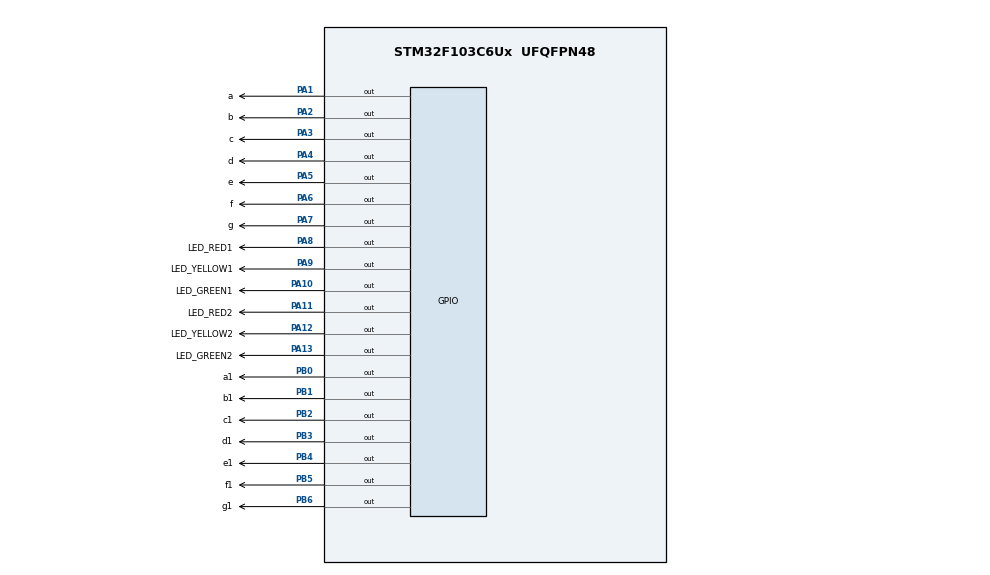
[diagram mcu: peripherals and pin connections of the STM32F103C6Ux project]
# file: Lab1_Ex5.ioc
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Mcu.Family=STM32F1
Mcu.Name=STM32F103C6Ux
Mcu.Package=UFQFPN48
NVIC.PriorityGroup=NVIC_PRIORITYGROUP_4
PA1.GPIO_Label=a
PA1.Signal=GPIO_Output
PA10.GPIO_Label=LED_GREEN1
PA10.Signal=GPIO_Output
PA11.GPIO_Label=LED_RED2
PA11.Signal=GPIO_Output
PA12.GPIO_Label=LED_YELLOW2
PA12.Signal=GPIO_Output
PA13.GPIO_Label=LED_GREEN2
PA13.Signal=GPIO_Output
PA2.GPIO_Label=b
PA2.Signal=GPIO_Output
PA3.GPIO_Label=c
PA3.Signal=GPIO_Output
PA4.GPIO_Label=d
PA4.Signal=GPIO_Output
PA5.GPIO_Label=e
PA5.Signal=GPIO_Output
PA6.GPIO_Label=f
PA6.Signal=GPIO_Output
PA7.GPIO_Label=g
PA7.Signal=GPIO_Output
PA8.GPIO_Label=LED_RED1
PA8.Signal=GPIO_Output
PA9.GPIO_Label=LED_YELLOW1
PA9.Signal=GPIO_Output
PB0.GPIO_Label=a1
PB0.Signal=GPIO_Output
PB1.GPIO_Label=b1
PB1.Signal=GPIO_Output
PB2.GPIO_Label=c1
PB2.Signal=GPIO_Output
PB3.GPIO_Label=d1
PB3.Signal=GPIO_Output
PB4.GPIO_Label=e1
PB4.Signal=GPIO_Output
PB5.GPIO_Label=f1
PB5.Signal=GPIO_Output
PB6.GPIO_Label=g1
PB6.Signal=GPIO_Output
ProjectManager.HeapSize=0x200
ProjectManager.StackSize=0x400
ProjectManager.TargetToolchain=STM32CubeIDE
RCC.APB1Freq_Value=8000000
RCC.APB2Freq_Value=8000000
VP_SYS_VS_ND.Mode=No_Debug
board=custom

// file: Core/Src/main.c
/* USER CODE BEGIN Header */
/**
  ******************************************************************************
  * @file           : main.c
  * @brief          : Main program body
  ******************************************************************************
  * @attention
  *
  * <h2><center>&copy; Copyright (c) 2025 STMicroelectronics.
  * All rights reserved.</center></h2>
  *
  * This software component is licensed by ST under BSD 3-Clause license,
  * the "License"; You may not use this file except in compliance with the
  * License. You may obtain a copy of the License at:
  *                        opensource.org/licenses/BSD-3-Clause
  *
  ******************************************************************************
  */
/* USER CODE END Header */
#include "main.h"

void SystemClock_Config(void);
static void MX_GPIO_Init(void);

/* USER CODE BEGIN 0 */
static void display7SEG(int num){
	HAL_GPIO_WritePin(a_GPIO_Port, a_Pin, GPIO_PIN_SET);
	HAL_GPIO_WritePin(b_GPIO_Port, b_Pin, GPIO_PIN_SET);
	HAL_GPIO_WritePin(c_GPIO_Port, c_Pin, GPIO_PIN_SET);
	HAL_GPIO_WritePin(d_GPIO_Port, d_Pin, GPIO_PIN_SET);
	HAL_GPIO_WritePin(e_GPIO_Port, e_Pin, GPIO_PIN_SET);
	HAL_GPIO_WritePin(f_GPIO_Port, f_Pin, GPIO_PIN_SET);
	HAL_GPIO_WritePin(g_GPIO_Port, g_Pin, GPIO_PIN_SET);
	switch (num){
		case 0:
		{
			HAL_GPIO_WritePin(a_GPIO_Port, a_Pin, GPIO_PIN_RESET);
			HAL_GPIO_WritePin(b_GPIO_Port, b_Pin, GPIO_PIN_RESET);
			HAL_GPIO_WritePin(c_GPIO_Port, c_Pin, GPIO_PIN_RESET);
			HAL_GPIO_WritePin(d_GPIO_Port, d_Pin, GPIO_PIN_RESET);
			HAL_GPIO_WritePin(e_GPIO_Port, e_Pin, GPIO_PIN_RESET);
			HAL_GPIO_WritePin(f_GPIO_Port, f_Pin, GPIO_PIN_RESET);
			HAL_GPIO_WritePin(g_GPIO_Port, g_Pin, GPIO_PIN_SET);
			break;
		}

		case 1:
		{
			HAL_GPIO_WritePin(a_GPIO_Port, a_Pin, GPIO_PIN_SET);
			HAL_GPIO_WritePin(b_GPIO_Port, b_Pin, GPIO_PIN_RESET);
			HAL_GPIO_WritePin(c_GPIO_Port, c_Pin, GPIO_PIN_RESET);
			HAL_GPIO_WritePin(d_GPIO_Port, d_Pin, GPIO_PIN_SET);
			HAL_GPIO_WritePin(e_GPIO_Port, e_Pin, GPIO_PIN_SET);
			HAL_GPIO_WritePin(f_GPIO_Port, f_Pin, GPIO_PIN_SET);
			HAL_GPIO_WritePin(g_GPIO_Port, g_Pin, GPIO_PIN_SET);
			break;
		}

		case 2:
		{
			HAL_GPIO_WritePin(a_GPIO_Port, a_Pin, GPIO_PIN_RESET);
			HAL_GPIO_WritePin(b_GPIO_Port, b_Pin, GPIO_PIN_RESET);
			HAL_GPIO_WritePin(c_GPIO_Port, c_Pin, GPIO_PIN_SET);
			HAL_GPIO_WritePin(d_GPIO_Port, d_Pin, GPIO_PIN_RESET);
			HAL_GPIO_WritePin(e_GPIO_Port, e_Pin, GPIO_PIN_RESET);
			HAL_GPIO_WritePin(f_GPIO_Port, f_Pin, GPIO_PIN_SET);
			HAL_GPIO_WritePin(g_GPIO_Port, g_Pin, GPIO_PIN_RESET);
			break;
		}

		case 3:
		{
			HAL_GPIO_WritePin(a_GPIO_Port, a_Pin, GPIO_PIN_RESET);
			HAL_GPIO_WritePin(b_GPIO_Port, b_Pin, GPIO_PIN_RESET);
			HAL_GPIO_WritePin(c_GPIO_Port, c_Pin, GPIO_PIN_RESET);
			HAL_GPIO_WritePin(d_GPIO_Port, d_Pin, GPIO_PIN_RESET);
			HAL_GPIO_WritePin(e_GPIO_Port, e_Pin, GPIO_PIN_SET);
			HAL_GPIO_WritePin(f_GPIO_Port, f_Pin, GPIO_PIN_SET);
			HAL_GPIO_WritePin(g_GPIO_Port, g_Pin, GPIO_PIN_RESET);
			break;
		}

		case 4:
		{
			HAL_GPIO_WritePin(a_GPIO_Port, a_Pin, GPIO_PIN_SET);
			HAL_GPIO_WritePin(b_GPIO_Port, b_Pin, GPIO_PIN_RESET);
			HAL_GPIO_WritePin(c_GPIO_Port, c_Pin, GPIO_PIN_RESET);
			HAL_GPIO_WritePin(d_GPIO_Port, d_Pin, GPIO_PIN_SET);
			HAL_GPIO_WritePin(e_GPIO_Port, e_Pin, GPIO_PIN_SET);
			HAL_GPIO_WritePin(f_GPIO_Port, f_Pin, GPIO_PIN_RESET);
			HAL_GPIO_WritePin(g_GPIO_Port, g_Pin, GPIO_PIN_RESET);
			break;
		}

		case 5:
		{
			HAL_GPIO_WritePin(a_GPIO_Port, a_Pin, GPIO_PIN_RESET);
			HAL_GPIO_WritePin(b_GPIO_Port, b_Pin, GPIO_PIN_SET);
			HAL_GPIO_WritePin(c_GPIO_Port, c_Pin, GPIO_PIN_RESET);
			HAL_GPIO_WritePin(d_GPIO_Port, d_Pin, GPIO_PIN_RESET);
			HAL_GPIO_WritePin(e_GPIO_Port, e_Pin, GPIO_PIN_SET);
			HAL_GPIO_WritePin(f_GPIO_Port, f_Pin, GPIO_PIN_RESET);
			HAL_GPIO_WritePin(g_GPIO_Port, g_Pin, GPIO_PIN_RESET);
			break;
		}

		case 6:
		{
			HAL_GPIO_WritePin(a_GPIO_Port, a_Pin, GPIO_PIN_RESET);
			HAL_GPIO_WritePin(b_GPIO_Port, b_Pin, GPIO_PIN_SET);
			HAL_GPIO_WritePin(c_GPIO_Port, c_Pin, GPIO_PIN_RESET);
			HAL_GPIO_WritePin(d_GPIO_Port, d_Pin, GPIO_PIN_RESET);
			HAL_GPIO_WritePin(e_GPIO_Port, e_Pin, GPIO_PIN_RESET);
			HAL_GPIO_WritePin(f_GPIO_Port, f_Pin, GPIO_PIN_RESET);
			HAL_GPIO_WritePin(g_GPIO_Port, g_Pin, GPIO_PIN_RESET);
			break;
		}

		case 7:
		{
			HAL_GPIO_WritePin(a_GPIO_Port, a_Pin, GPIO_PIN_RESET);
			HAL_GPIO_WritePin(b_GPIO_Port, b_Pin, GPIO_PIN_RESET);
			HAL_GPIO_WritePin(c_GPIO_Port, c_Pin, GPIO_PIN_RESET);
			HAL_GPIO_WritePin(d_GPIO_Port, d_Pin, GPIO_PIN_SET);
			HAL_GPIO_WritePin(e_GPIO_Port, e_Pin, GPIO_PIN_SET);
			HAL_GPIO_WritePin(f_GPIO_Port, f_Pin, GPIO_PIN_SET);
			HAL_GPIO_WritePin(g_GPIO_Port, g_Pin, GPIO_PIN_SET);
			break;
		}

		case 8:
		{
			HAL_GPIO_WritePin(a_GPIO_Port, a_Pin, GPIO_PIN_RESET);
			HAL_GPIO_WritePin(b_GPIO_Port, b_Pin, GPIO_PIN_RESET);
			HAL_GPIO_WritePin(c_GPIO_Port, c_Pin, GPIO_PIN_RESET);
			HAL_GPIO_WritePin(d_GPIO_Port, d_Pin, GPIO_PIN_RESET);
			HAL_GPIO_WritePin(e_GPIO_Port, e_Pin, GPIO_PIN_RESET);
			HAL_GPIO_WritePin(f_GPIO_Port, f_Pin, GPIO_PIN_RESET);
			HAL_GPIO_WritePin(g_GPIO_Port, g_Pin, GPIO_PIN_RESET);
			break;
		}

		case 9:
		{
			HAL_GPIO_WritePin(a_GPIO_Port, a_Pin, GPIO_PIN_RESET);
			HAL_GPIO_WritePin(b_GPIO_Port, b_Pin, GPIO_PIN_RESET);
			HAL_GPIO_WritePin(c_GPIO_Port, c_Pin, GPIO_PIN_RESET);
			HAL_GPIO_WritePin(d_GPIO_Port, d_Pin, GPIO_PIN_RESET);
			HAL_GPIO_WritePin(e_GPIO_Port, e_Pin, GPIO_PIN_SET);
			HAL_GPIO_WritePin(f_GPIO_Port, f_Pin, GPIO_PIN_RESET);
			HAL_GPIO_WritePin(g_GPIO_Port, g_Pin, GPIO_PIN_RESET);
			break;
		}
		default:
			break;
	}

}

static void display7SEG1(int num){
	HAL_GPIO_WritePin(a1_GPIO_Port, a1_Pin, GPIO_PIN_SET);
	HAL_GPIO_WritePin(b1_GPIO_Port, b1_Pin, GPIO_PIN_SET);
	HAL_GPIO_WritePin(c1_GPIO_Port, c1_Pin, GPIO_PIN_SET);
	HAL_GPIO_WritePin(d1_GPIO_Port, d1_Pin, GPIO_PIN_SET);
	HAL_GPIO_WritePin(e1_GPIO_Port, e1_Pin, GPIO_PIN_SET);
	HAL_GPIO_WritePin(f1_GPIO_Port, f1_Pin, GPIO_PIN_SET);
	HAL_GPIO_WritePin(g1_GPIO_Port, g1_Pin, GPIO_PIN_SET);
	switch (num){
		case 0:
		{
			HAL_GPIO_WritePin(a1_GPIO_Port, a1_Pin, GPIO_PIN_RESET);
			HAL_GPIO_WritePin(b1_GPIO_Port, b1_Pin, GPIO_PIN_RESET);
			HAL_GPIO_WritePin(c1_GPIO_Port, c1_Pin, GPIO_PIN_RESET);
			HAL_GPIO_WritePin(d1_GPIO_Port, d1_Pin, GPIO_PIN_RESET);
			HAL_GPIO_WritePin(e1_GPIO_Port, e1_Pin, GPIO_PIN_RESET);
			HAL_GPIO_WritePin(f1_GPIO_Port, f1_Pin, GPIO_PIN_RESET);
			HAL_GPIO_WritePin(g1_GPIO_Port, g1_Pin, GPIO_PIN_SET);
			break;
		}

		case 1:
		{
			HAL_GPIO_WritePin(a1_GPIO_Port, a1_Pin, GPIO_PIN_SET);
			HAL_GPIO_WritePin(b1_GPIO_Port, b1_Pin, GPIO_PIN_RESET);
			HAL_GPIO_WritePin(c1_GPIO_Port, c1_Pin, GPIO_PIN_RESET);
			HAL_GPIO_WritePin(d1_GPIO_Port, d1_Pin, GPIO_PIN_SET);
			HAL_GPIO_WritePin(e1_GPIO_Port, e1_Pin, GPIO_PIN_SET);
			HAL_GPIO_WritePin(f1_GPIO_Port, f1_Pin, GPIO_PIN_SET);
			HAL_GPIO_WritePin(g1_GPIO_Port, g1_Pin, GPIO_PIN_SET);
			break;
		}

		case 2:
		{
			HAL_GPIO_WritePin(a1_GPIO_Port, a1_Pin, GPIO_PIN_RESET);
			HAL_GPIO_WritePin(b1_GPIO_Port, b1_Pin, GPIO_PIN_RESET);
			HAL_GPIO_WritePin(c1_GPIO_Port, c1_Pin, GPIO_PIN_SET);
			HAL_GPIO_WritePin(d1_GPIO_Port, d1_Pin, GPIO_PIN_RESET);
			HAL_GPIO_WritePin(e1_GPIO_Port, e1_Pin, GPIO_PIN_RESET);
			HAL_GPIO_WritePin(f1_GPIO_Port, f1_Pin, GPIO_PIN_SET);
			HAL_GPIO_WritePin(g1_GPIO_Port, g1_Pin, GPIO_PIN_RESET);
			break;
		}

		case 3:
		{
			HAL_GPIO_WritePin(a1_GPIO_Port, a1_Pin, GPIO_PIN_RESET);
			HAL_GPIO_WritePin(b1_GPIO_Port, b1_Pin, GPIO_PIN_RESET);
			HAL_GPIO_WritePin(c1_GPIO_Port, c1_Pin, GPIO_PIN_RESET);
			HAL_GPIO_WritePin(d1_GPIO_Port, d1_Pin, GPIO_PIN_RESET);
			HAL_GPIO_WritePin(e1_GPIO_Port, e1_Pin, GPIO_PIN_SET);
			HAL_GPIO_WritePin(f1_GPIO_Port, f1_Pin, GPIO_PIN_SET);
			HAL_GPIO_WritePin(g1_GPIO_Port, g1_Pin, GPIO_PIN_RESET);
			break;
		}

		case 4:
		{
			HAL_GPIO_WritePin(a1_GPIO_Port, a1_Pin, GPIO_PIN_SET);
			HAL_GPIO_WritePin(b1_GPIO_Port, b1_Pin, GPIO_PIN_RESET);
			HAL_GPIO_WritePin(c1_GPIO_Port, c1_Pin, GPIO_PIN_RESET);
			HAL_GPIO_WritePin(d1_GPIO_Port, d1_Pin, GPIO_PIN_SET);
			HAL_GPIO_WritePin(e1_GPIO_Port, e1_Pin, GPIO_PIN_SET);
			HAL_GPIO_WritePin(f1_GPIO_Port, f1_Pin, GPIO_PIN_RESET);
			HAL_GPIO_WritePin(g1_GPIO_Port, g1_Pin, GPIO_PIN_RESET);
			break;
		}

		case 5:
		{
			HAL_GPIO_WritePin(a1_GPIO_Port, a1_Pin, GPIO_PIN_RESET);
			HAL_GPIO_WritePin(b1_GPIO_Port, b1_Pin, GPIO_PIN_SET);
			HAL_GPIO_WritePin(c1_GPIO_Port, c1_Pin, GPIO_PIN_RESET);
			HAL_GPIO_WritePin(d1_GPIO_Port, d1_Pin, GPIO_PIN_RESET);
			HAL_GPIO_WritePin(e1_GPIO_Port, e1_Pin, GPIO_PIN_SET);
			HAL_GPIO_WritePin(f1_GPIO_Port, f1_Pin, GPIO_PIN_RESET);
			HAL_GPIO_WritePin(g1_GPIO_Port, g1_Pin, GPIO_PIN_RESET);
			break;
		}

		case 6:
		{
			HAL_GPIO_WritePin(a1_GPIO_Port, a1_Pin, GPIO_PIN_RESET);
			HAL_GPIO_WritePin(b1_GPIO_Port, b1_Pin, GPIO_PIN_SET);
			HAL_GPIO_WritePin(c1_GPIO_Port, c1_Pin, GPIO_PIN_RESET);
			HAL_GPIO_WritePin(d1_GPIO_Port, d1_Pin, GPIO_PIN_RESET);
			HAL_GPIO_WritePin(e1_GPIO_Port, e1_Pin, GPIO_PIN_RESET);
			HAL_GPIO_WritePin(f1_GPIO_Port, f1_Pin, GPIO_PIN_RESET);
			HAL_GPIO_WritePin(g1_GPIO_Port, g1_Pin, GPIO_PIN_RESET);
			break;
		}

		case 7:
		{
			HAL_GPIO_WritePin(a1_GPIO_Port, a1_Pin, GPIO_PIN_RESET);
			HAL_GPIO_WritePin(b1_GPIO_Port, b1_Pin, GPIO_PIN_RESET);
			HAL_GPIO_WritePin(c1_GPIO_Port, c1_Pin, GPIO_PIN_RESET);
			HAL_GPIO_WritePin(d1_GPIO_Port, d1_Pin, GPIO_PIN_SET);
			HAL_GPIO_WritePin(e1_GPIO_Port, e1_Pin, GPIO_PIN_SET);
			HAL_GPIO_WritePin(f1_GPIO_Port, f1_Pin, GPIO_PIN_SET);
			HAL_GPIO_WritePin(g1_GPIO_Port, g1_Pin, GPIO_PIN_SET);
			break;
		}
		default:
			break;
	}

}
/* USER CODE END 0 */

int main(void)
{

  /* MCU Configuration--------------------------------------------------------*/

  /* Reset of all peripherals, Initializes the Flash interface and the Systick. */
  HAL_Init();

  /* Configure the system clock */
  SystemClock_Config();

  /* Initialize all configured peripherals */
  MX_GPIO_Init();

  /* Infinite loop */
  /* USER CODE BEGIN WHILE */
  while (1)
  {
	  display7SEG (4);
	  display7SEG1 (2);
	  HAL_GPIO_WritePin(LED_RED1_GPIO_Port, LED_RED1_Pin, GPIO_PIN_RESET);
	  HAL_GPIO_WritePin(LED_YELLOW1_GPIO_Port, LED_YELLOW1_Pin, GPIO_PIN_SET);
	  HAL_GPIO_WritePin(LED_GREEN1_GPIO_Port, LED_GREEN1_Pin, GPIO_PIN_SET);
	  HAL_GPIO_WritePin(LED_YELLOW2_GPIO_Port, LED_YELLOW2_Pin, GPIO_PIN_SET);
	  HAL_GPIO_WritePin(LED_RED2_GPIO_Port, LED_RED2_Pin, GPIO_PIN_SET);
	  HAL_GPIO_WritePin(LED_GREEN2_GPIO_Port, LED_GREEN2_Pin, GPIO_PIN_RESET);

	  HAL_Delay(1000);

	  display7SEG (3);
	  display7SEG1 (1);

	  HAL_Delay(1000);

	  display7SEG (2);
	  display7SEG1 (0);

	  HAL_Delay(1000);

	  display7SEG (1);
	  display7SEG1 (1);
	  HAL_GPIO_TogglePin(LED_GREEN2_GPIO_Port, LED_GREEN2_Pin);
	  HAL_GPIO_TogglePin(LED_YELLOW2_GPIO_Port, LED_YELLOW2_Pin);

	  HAL_Delay(1000);

	  display7SEG (0);
	  display7SEG1 (0);

	  HAL_Delay(1000);

	  display7SEG (2);
	  display7SEG1 (4);
	  HAL_GPIO_TogglePin(LED_RED1_GPIO_Port, LED_RED1_Pin);
	  HAL_GPIO_TogglePin(LED_GREEN1_GPIO_Port, LED_GREEN1_Pin);
	  HAL_GPIO_TogglePin(LED_YELLOW2_GPIO_Port, LED_YELLOW2_Pin);
	  HAL_GPIO_TogglePin(LED_RED2_GPIO_Port, LED_RED2_Pin);

	  HAL_Delay(1000);

	  display7SEG (1);
	  display7SEG1 (3);

	  HAL_Delay(1000);

	  display7SEG (0);
	  display7SEG1 (2);

	  HAL_Delay(1000);

	  display7SEG (1);
	  display7SEG1 (1);
	  HAL_GPIO_TogglePin(LED_GREEN1_GPIO_Port, LED_GREEN1_Pin);
	  HAL_GPIO_TogglePin(LED_YELLOW1_GPIO_Port, LED_YELLOW1_Pin);

	  HAL_Delay(1000);

	  display7SEG (0);
	  display7SEG1 (0);

	  HAL_Delay(1000);

    /* USER CODE END WHILE */

  }
}

void SystemClock_Config(void)
{
  RCC_OscInitTypeDef RCC_OscInitStruct = {0};
  RCC_ClkInitTypeDef RCC_ClkInitStruct = {0};

  /** Initializes the RCC Oscillators according to the specified parameters
  * in the RCC_OscInitTypeDef structure.
  */
  RCC_OscInitStruct.OscillatorType = RCC_OSCILLATORTYPE_HSI;
  RCC_OscInitStruct.HSIState = RCC_HSI_ON;
  RCC_OscInitStruct.HSICalibrationValue = RCC_HSICALIBRATION_DEFAULT;
  RCC_OscInitStruct.PLL.PLLState = RCC_PLL_NONE;
  if (HAL_RCC_OscConfig(&RCC_OscInitStruct) != HAL_OK)
  {
    Error_Handler();
  }
  /** Initializes the CPU, AHB and APB buses clocks
  */
  RCC_ClkInitStruct.ClockType = RCC_CLOCKTYPE_HCLK|RCC_CLOCKTYPE_SYSCLK
                              |RCC_CLOCKTYPE_PCLK1|RCC_CLOCKTYPE_PCLK2;
  RCC_ClkInitStruct.SYSCLKSource = RCC_SYSCLKSOURCE_HSI;
  RCC_ClkInitStruct.AHBCLKDivider = RCC_SYSCLK_DIV1;
  RCC_ClkInitStruct.APB1CLKDivider = RCC_HCLK_DIV1;
  RCC_ClkInitStruct.APB2CLKDivider = RCC_HCLK_DIV1;

  if (HAL_RCC_ClockConfig(&RCC_ClkInitStruct, FLASH_LATENCY_0) != HAL_OK)
  {
    Error_Handler();
  }
}

static void MX_GPIO_Init(void)
{
  GPIO_InitTypeDef GPIO_InitStruct = {0};

  /* GPIO Ports Clock Enable */
  __HAL_RCC_GPIOA_CLK_ENABLE();
  __HAL_RCC_GPIOB_CLK_ENABLE();

  /*Configure GPIO pin Output Level */
  HAL_GPIO_WritePin(GPIOA, a_Pin|b_Pin|c_Pin|d_Pin
                          |e_Pin|f_Pin|g_Pin|LED_RED1_Pin
                          |LED_YELLOW1_Pin|LED_GREEN1_Pin|LED_RED2_Pin|LED_YELLOW2_Pin
                          |LED_GREEN2_Pin, GPIO_PIN_RESET);

  /*Configure GPIO pin Output Level */
  HAL_GPIO_WritePin(GPIOB, a1_Pin|b1_Pin|c1_Pin|d1_Pin
                          |e1_Pin|f1_Pin|g1_Pin, GPIO_PIN_RESET);

  /*Configure GPIO pins : a_Pin b_Pin c_Pin d_Pin
                           e_Pin f_Pin g_Pin LED_RED1_Pin
                           LED_YELLOW1_Pin LED_GREEN1_Pin LED_RED2_Pin LED_YELLOW2_Pin
                           LED_GREEN2_Pin */
  GPIO_InitStruct.Pin = a_Pin|b_Pin|c_Pin|d_Pin
                          |e_Pin|f_Pin|g_Pin|LED_RED1_Pin
                          |LED_YELLOW1_Pin|LED_GREEN1_Pin|LED_RED2_Pin|LED_YELLOW2_Pin
                          |LED_GREEN2_Pin;
  GPIO_InitStruct.Mode = GPIO_MODE_OUTPUT_PP;
  GPIO_InitStruct.Pull = GPIO_NOPULL;
  GPIO_InitStruct.Speed = GPIO_SPEED_FREQ_LOW;
  HAL_GPIO_Init(GPIOA, &GPIO_InitStruct);

  /*Configure GPIO pins : a1_Pin b1_Pin c1_Pin d1_Pin
                           e1_Pin f1_Pin g1_Pin */
  GPIO_InitStruct.Pin = a1_Pin|b1_Pin|c1_Pin|d1_Pin
                          |e1_Pin|f1_Pin|g1_Pin;
  GPIO_InitStruct.Mode = GPIO_MODE_OUTPUT_PP;
  GPIO_InitStruct.Pull = GPIO_NOPULL;
  GPIO_InitStruct.Speed = GPIO_SPEED_FREQ_LOW;
  HAL_GPIO_Init(GPIOB, &GPIO_InitStruct);

}

void Error_Handler(void)
{
  __disable_irq();
  while (1)
  {
  }
}

/************************ (C) COPYRIGHT STMicroelectronics *****END OF FILE****/
